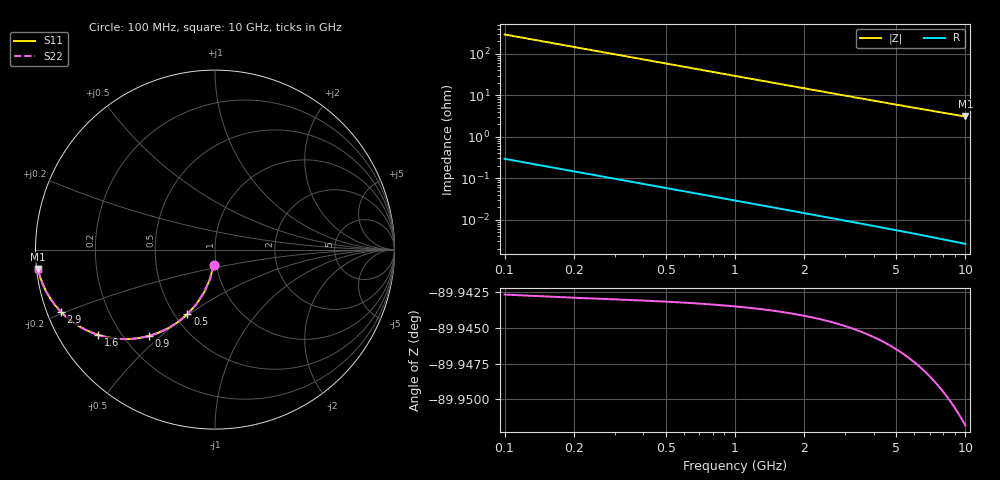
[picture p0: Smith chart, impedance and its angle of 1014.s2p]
# Hz S RI R 50.00
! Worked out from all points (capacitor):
!   100 points, 100 MHz to 10 GHz, reference 50 ohm
!   read as one part in shunt: C = 5.42 pF near 100 MHz
!   lowest |Z| = 3.09 ohm at 10 GHz (marker M1)
!   S11 on the Smith chart (normalised r, x): 100 MHz: 0.97, -0.17; 500 MHz: 0.58, -0.49; 900 MHz: 0.30, -0.46; 1.6 GHz: 0.12, -0.32; 2.9 GHz: 0.04, -0.19; 10 GHz: 0.00, -0.05
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1e8  -0.00727 -0.0845  0.9927 -0.0846  0.9927 -0.0846  -0.00727 -0.0845
2e8  -0.0283 -0.1654  0.9716 -0.1656  0.9716 -0.1656  -0.0283 -0.1654
3e8  -0.0615 -0.2395  0.9385 -0.2399  0.9385 -0.2399  -0.0615 -0.2395
4e8  -0.1042 -0.3048  0.8958 -0.3053  0.8958 -0.3053  -0.1042 -0.3048
5e8  -0.1537 -0.3598  0.8463 -0.3605  0.8463 -0.3605  -0.1537 -0.3598
6e8  -0.2072 -0.4044  0.7928 -0.4052  0.7928 -0.4052  -0.2072 -0.4044
7e8  -0.2623 -0.4389  0.7377 -0.4399  0.7377 -0.4399  -0.2623 -0.4389
9e8  -0.37 -0.4817  0.63 -0.4829  0.63 -0.4829  -0.37 -0.4817
1e9  -0.4202 -0.4924  0.5798 -0.4938  0.5798 -0.4938  -0.4202 -0.4924
1.2e9  -0.5104 -0.4986  0.4895 -0.5002  0.4895 -0.5002  -0.5104 -0.4986
1.4e9  -0.5865 -0.491  0.4135 -0.4929  0.4135 -0.4929  -0.5865 -0.491
1.6e9  -0.6492 -0.4756  0.3507 -0.4778  0.3507 -0.4778  -0.6492 -0.4756
1.8e9  -0.7007 -0.4562  0.2993 -0.4587  0.2993 -0.4587  -0.7007 -0.4562
2e9  -0.7428 -0.4352  0.2572 -0.4379  0.2572 -0.4379  -0.7428 -0.4352
2.3e9  -0.7924 -0.4035  0.2076 -0.4067  0.2076 -0.4067  -0.7924 -0.4035
2.9e9  -0.8583 -0.3462  0.1417 -0.3502  0.1417 -0.3502  -0.8583 -0.3462
3.4e9  -0.8927 -0.3067  0.1073 -0.3114  0.1073 -0.3114  -0.8927 -0.3067
4.2e9  -0.9269 -0.2569  0.0731 -0.2627  0.0731 -0.2627  -0.9269 -0.2569
5.1e9  -0.9492 -0.2155  0.0508 -0.2226  0.0508 -0.2226  -0.9492 -0.2155
6.7e9  -0.9699 -0.1654  0.03 -0.1748  0.03 -0.1748  -0.9699 -0.1654
8.4e9  -0.9807 -0.1308  0.0192 -0.1427  0.0192 -0.1427  -0.9807 -0.1308
1e10  -0.9864 -0.1078  0.0135 -0.1222  0.0135 -0.1222  -0.9864 -0.1078
